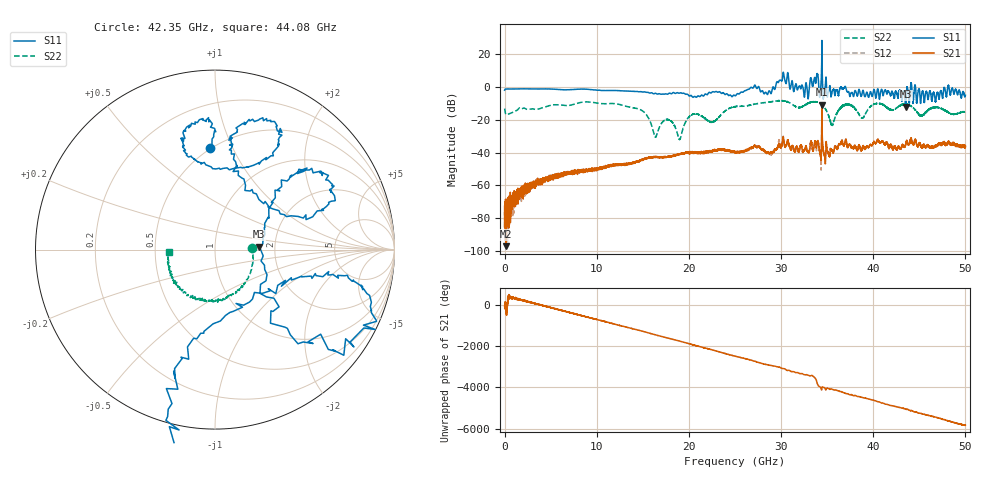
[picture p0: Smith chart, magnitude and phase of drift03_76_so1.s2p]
!Created with skrf (http://scikit-rf.org).
# Hz S RI R 50.0
!freq ReS11 ImS11 ReS21 ImS21 ReS12 ImS12 ReS22 ImS22
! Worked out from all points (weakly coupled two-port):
!   10000 points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, 5.3 MHz to 50 GHz, reference 50 ohm
!   highest |S21| = -10.92 dB at 34.43 GHz (marker M1); lowest = -96.8 dB at 185.3 MHz (marker M2)
!   lowest |S11| = -12.2 dB at 43.52 GHz (marker M3), VSWR 1.65, Z = 82.5 + j2.71 ohm
!   |S11| at or under -10 dB: 43.48458 GHz to 43.54393 GHz (59.36 MHz wide, 0.136 % of centre); 44.31197 GHz to 44.31637 GHz (4.394 MHz wide, 0.00992 % of centre); 45.13683 GHz to 45.14272 GHz (5.885 MHz wide, 0.013 % of centre)
!   |S22| runs from -32.1 to -8.4 dB; largest |S21 - S12| = 0.091
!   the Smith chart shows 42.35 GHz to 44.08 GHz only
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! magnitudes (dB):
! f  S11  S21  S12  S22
! 5.3 MHz  -2.1  -72.6  -76.1  -13.3
! 185.3 MHz  -1.4  -96.8  -72.9  -17.0
! 2.53 GHz  -1.4  -62.2  -60.3  -13.8
! 8.34 GHz  -1.5  -50.6  -51.5  -9.5
! 14.58 GHz  -3.1  -45.7  -45.3  -13.6
! 16.67 GHz  -4.4  -42.6  -42.6  -26.5
! 17.79 GHz  -4.3  -42.5  -42.3  -20.0
! 19 GHz  -3.9  -41.1  -40.9  -32.1
! 20.3 GHz  -5.6  -40.1  -39.9  -17.1
! 22.58 GHz  -3.1  -39.0  -39.8  -21.4
! 25.01 GHz  -5.5  -40.1  -39.8  -12.1
! 28.72 GHz  -2.5  -40.5  -40.3  -9.4
! 30.14 GHz  4.4  -33.7  -33.9  -8.5
! 32.74 GHz  2.0  -36.9  -36.7  -10.8
! 33.34 GHz  2.7  -35.1  -35.4  -9.3
! 34.43 GHz  28.1  -10.9  -13.1  -10.8
! 35.53 GHz  -3.2  -38.7  -38.9  -23.1
! 36.95 GHz  0.2  -33.4  -33.4  -11.1
! 38.78 GHz  -4.5  -37.9  -37.7  -19.1
! 41.67 GHz  -2.8  -36.7  -36.8  -13.1
! 43.52 GHz  -12.2  -35.1  -35.2  -10.8
! 50 GHz  -5.2  -36.1  -35.9  -15.4
